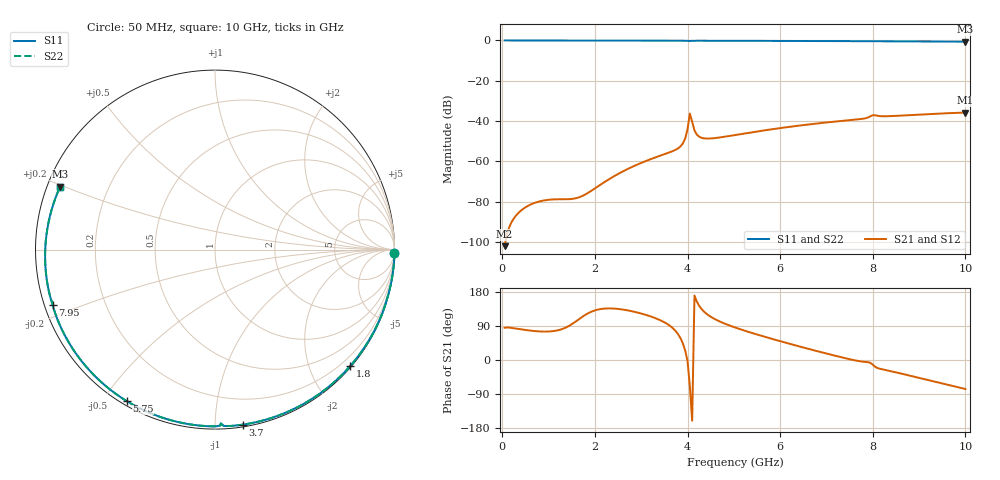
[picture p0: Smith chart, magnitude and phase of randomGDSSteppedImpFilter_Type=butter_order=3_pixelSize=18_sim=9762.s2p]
! freq	dB(S11)	phase(S11)	dB(S12)	phase(S12)
!  dB(S21)	phase(S21)	dB(S22)	phase(S22)
!S-par simulation data
#  GHz  S  DB  R 50
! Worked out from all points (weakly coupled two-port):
!   200 points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, 50 MHz to 10 GHz, reference 50 ohm
!   highest |S21| = -35.76 dB at 10 GHz (marker M1); lowest = -102.0 dB at 50 MHz (marker M2)
!   lowest |S11| = -0.6 dB at 10 GHz (marker M3), VSWR 28.18, Z = 1.84 + j9.78 ohm
!   |S11| at or under -10 dB: nowhere
!   |S22| runs from -0.6 to 0.0 dB; largest |S21 - S12| = 0
!   S11 on the Smith chart (normalised r, x): 50 MHz: 0, -99; 1.8 GHz: 0.02, -2.69; 3.7 GHz: 0.01, -1.17; 5.75 GHz: 0.02, -0.57; 7.95 GHz: 0.02, -0.17; 10 GHz: 0.04, +0.20
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0.05  -0.00 -1.2  -102.02 85.1  -102.02 85.1  -0.00 -1.2
0.75  -0.03 -17.2  -80.16 75.8  -80.16 75.8  -0.03 -17.2
1.5  -0.04 -34.1  -78.60 94.4  -78.60 94.4  -0.04 -34.1
1.75  -0.05 -39.7  -76.87 115.8  -76.87 115.8  -0.05 -39.6
1.8  -0.05 -40.8  -76.27 119.6  -76.27 119.6  -0.05 -40.7
2.6  -0.07 -58.1  -64.98 133.2  -64.98 133.2  -0.07 -58.0
3.4  -0.10 -74.7  -57.23 105.5  -57.23 105.5  -0.10 -74.7
3.7  -0.11 -80.9  -54.68 82.0  -54.68 82.0  -0.11 -80.8
3.85  -0.12 -83.9  -52.50 57.1  -52.50 57.1  -0.12 -83.9
3.95  -0.13 -86.0  -48.58 24.9  -48.58 24.9  -0.13 -86.0
4  -0.15 -87.2  -43.98 -2.7  -43.98 -2.7  -0.15 -87.2
4.05  -0.27 -88.1  -36.25 -69.0  -36.25 -69.0  -0.27 -88.1
4.15  -0.14 -89.5  -44.62 170.2  -44.62 170.2  -0.14 -89.4
4.2  -0.13 -90.5  -46.67 154.2  -46.67 154.2  -0.13 -90.5
4.3  -0.13 -92.6  -48.27 134.9  -48.27 134.9  -0.13 -92.6
5.05  -0.16 -107.1  -46.81 84.8  -46.81 84.8  -0.16 -107.1
5.75  -0.20 -120.3  -44.28 58.3  -44.28 58.3  -0.20 -120.2
6.7  -0.27 -137.8  -41.43 26.5  -41.43 26.5  -0.27 -137.8
7.95  -0.39 -161.1  -37.59 -7.6  -37.59 -7.6  -0.39 -161.0
8.35  -0.42 -168.6  -37.55 -28.4  -37.55 -28.4  -0.42 -168.6
9.2  -0.52 174.6  -36.52 -53.1  -36.52 -53.1  -0.52 174.7
10  -0.62 157.8  -35.76 -76.6  -35.76 -76.6  -0.62 157.9
